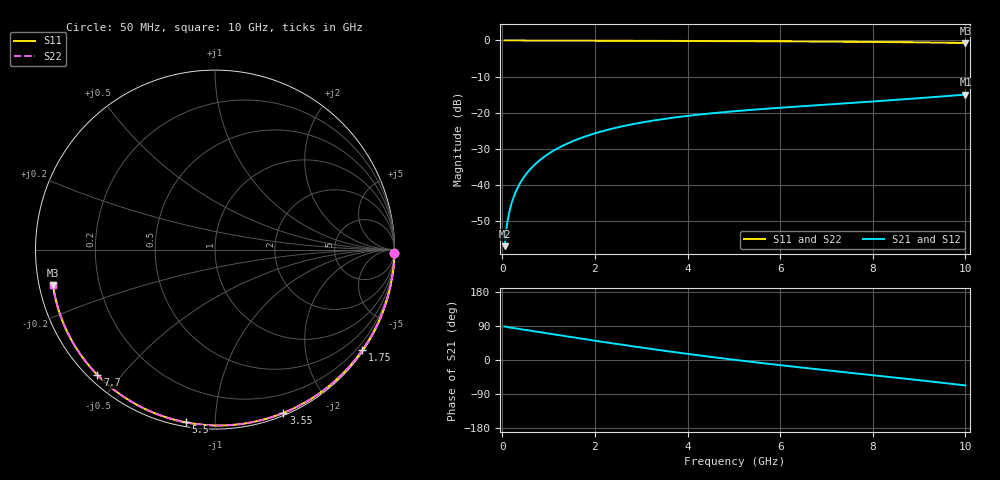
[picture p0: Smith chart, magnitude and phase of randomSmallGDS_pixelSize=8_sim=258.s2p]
! freq	dB(S11)	phase(S11)	dB(S12)	phase(S12)
!  dB(S21)	phase(S21)	dB(S22)	phase(S22)
!S-par simulation data
#  GHz  S  DB  R 50
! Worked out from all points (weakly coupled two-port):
!   200 points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, 50 MHz to 10 GHz, reference 50 ohm
!   highest |S21| = -14.99 dB at 10 GHz (marker M1); lowest = -57.0 dB at 50 MHz (marker M2)
!   lowest |S11| = -0.7 dB at 10 GHz (marker M3), VSWR 25.45, Z = 1.99 - j5.43 ohm
!   |S11| at or under -10 dB: nowhere
!   |S22| runs from -0.7 to 0.0 dB; largest |S21 - S12| = 0
!   S11 on the Smith chart (normalised r, x): 50 MHz: open; 1.75 GHz: 0.03, -3.24; 3.55 GHz: 0.02, -1.50; 5.5 GHz: 0.02, -0.84; 7.7 GHz: 0.03, -0.43; 10 GHz: 0.04, -0.11
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0.05  -0.00 -1.0  -56.96 88.4  -56.96 88.4  -0.00 -1.0
0.1  -0.00 -2.0  -51.00 87.1  -51.00 87.1  -0.00 -2.0
0.15  -0.00 -3.0  -47.54 85.9  -47.54 85.9  -0.00 -3.0
0.2  -0.00 -4.0  -45.09 84.9  -45.09 84.9  -0.00 -4.0
0.25  -0.00 -5.0  -43.19 84.0  -43.19 84.0  -0.00 -5.0
0.35  -0.01 -7.0  -40.32 82.2  -40.32 82.2  -0.01 -7.0
0.5  -0.01 -10.0  -37.26 79.4  -37.26 79.4  -0.01 -10.0
0.7  -0.02 -13.9  -34.39 75.6  -34.39 75.6  -0.02 -13.9
1  -0.03 -19.8  -31.37 69.9  -31.37 69.9  -0.03 -19.8
1.35  -0.04 -26.6  -28.87 63.2  -28.87 63.2  -0.04 -26.6
1.75  -0.05 -34.3  -26.77 55.6  -26.77 55.6  -0.05 -34.3
2.6  -0.08 -50.2  -23.75 40.0  -23.75 40.0  -0.08 -50.2
3.4  -0.11 -64.6  -21.91 26.0  -21.91 26.0  -0.11 -64.6
3.55  -0.12 -67.2  -21.63 23.5  -21.63 23.5  -0.12 -67.2
4.3  -0.15 -80.1  -20.46 11.4  -20.46 11.4  -0.15 -80.1
5.05  -0.19 -92.5  -19.56 -0.1  -19.56 -0.1  -0.19 -92.5
5.5  -0.21 -99.7  -19.10 -6.6  -19.10 -6.6  -0.21 -99.7
6.7  -0.29 -118.2  -18.02 -23.1  -18.02 -23.1  -0.29 -118.2
7.7  -0.38 -133.2  -17.17 -36.2  -17.17 -36.2  -0.38 -133.2
8.35  -0.45 -142.8  -16.59 -44.6  -16.59 -44.6  -0.45 -142.8
9.2  -0.56 -155.4  -15.79 -55.9  -15.79 -55.9  -0.56 -155.4
10  -0.68 -167.6  -14.99 -67.1  -14.99 -67.1  -0.68 -167.6
